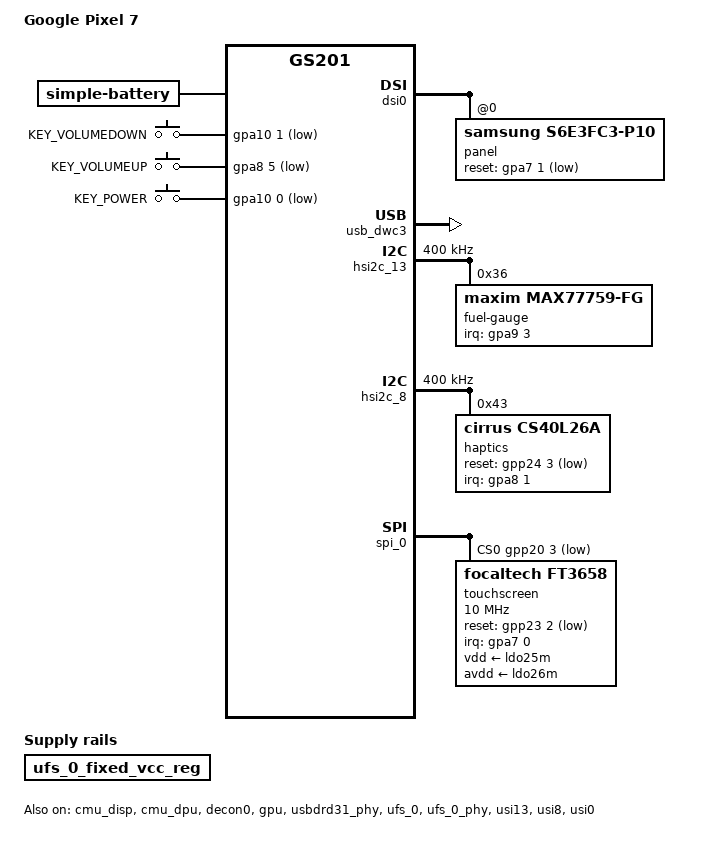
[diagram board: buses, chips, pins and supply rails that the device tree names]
// SPDX-License-Identifier: GPL-2.0-only
/*
 * Google Pixel 7 (panther) - first-light board file.
 *
 * USB (NCM + ACM), the cluster watchdogs from gs201.dtsi, a
 * simple-framebuffer on the buffer ABL leaves DPP0 scanning out, UFS, the
 * three keys, the touchscreen with its rails on the main PMIC, the GPU, the
 * haptics, the MAX77759's I2C bus with its fuel gauge, and the display
 * through gs-decon, which takes over from the simple-framebuffer.
 */

/dts-v1/;

#include <dt-bindings/input/input.h>
#include <dt-bindings/soc/samsung,exynos-usi.h>
#include "gs201.dtsi"

/ {
	model = "Google Pixel 7";
	compatible = "google,gs201-panther", "google,gs201";

	/*
	 * ABL's base-DTB match: product id 0x09855000 | major revision (B0 is
	 * 1). Stock reports pkg_mode 0 and soc_id 0x09855001 in its live tree.
	 */
	soc_id = <0x09855001 0x0>;

	chosen {
		/* ABL requires bootargs to exist; it appends its own after these. */
		bootargs = "console=tty0 panic=10 clk_ignore_unused pd_ignore_unused rdinit=/init omamobile.ufs-probe mem_sleep_default=s2idle";
		#address-cells = <2>;
		#size-cells = <1>;
		ranges;

		/*
		 * ABL leaves DECON0 -> DSIM0 -> panel (sdc-s6e3fc3) running in
		 * command mode with DPP0 scanning 0xfac00000 (RDMA_BASEADDR_Y8,
		 * read on this phone). simplefb scans it out and takes the size
		 * from this node until gs-decon takes the screen over.
		 */
		framebuffer0: framebuffer@fac00000 {
			compatible = "simple-framebuffer";
			reg = <0x0 0xfac00000 (1080 * 2400 * 4)>;
			memory-region = <&cont_splash_mem>;
			width = <1080>;
			height = <2400>;
			stride = <(1080 * 4)>;
			format = "a8r8g8b8";
		};
	};

	battery: battery {
		compatible = "simple-battery";
		/* google,chg-battery-capacity in the live tree */
		charge-full-design-microamp-hours = <4277000>;
		/* google,fv-max-uv; VEmpty of the live tree's gauge models */
		voltage-max-design-microvolt = <4450000>;
		voltage-min-design-microvolt = <3300000>;
	};

	/* The same pins as cheetah's (Google's gs201-common.dtsi). */
	gpio-keys {
		compatible = "gpio-keys";
		pinctrl-0 = <&key_voldown>, <&key_volup>, <&key_power>;
		pinctrl-names = "default";

		button-vol-down {
			label = "KEY_VOLUMEDOWN";
			linux,code = <KEY_VOLUMEDOWN>;
			gpios = <&gpa10 1 GPIO_ACTIVE_LOW>;
			wakeup-source;
		};

		button-vol-up {
			label = "KEY_VOLUMEUP";
			linux,code = <KEY_VOLUMEUP>;
			gpios = <&gpa8 5 GPIO_ACTIVE_LOW>;
			wakeup-source;
		};

		/*
		 * PMIC_PWRON_OD_L: the S2MPG12 PWRONB line, also wired to the
		 * SoC. The PMIC's own long-press reset is unaffected.
		 */
		button-power {
			label = "KEY_POWER";
			linux,code = <KEY_POWER>;
			gpios = <&gpa10 0 GPIO_ACTIVE_LOW>;
			wakeup-source;
		};
	};

	/*
	 * UFS VCC. Stock drives it from GPIO gpp0-1 (boot-on), as on
	 * cheetah; there is no gs201 GPIO driver yet, so describe it as
	 * always on, as the bootloader leaves it.
	 */
	ufs_0_fixed_vcc_reg: regulator-ufs-vcc {
		compatible = "regulator-fixed";
		regulator-name = "ufs-vcc";
		regulator-always-on;
		regulator-boot-on;
	};

	reserved-memory {
		#address-cells = <2>;
		#size-cells = <1>;
		ranges;

		/*
		 * Stock's region and layout (ramoops_mem@fd3ff000 in its live
		 * tree), so a log from this kernel can be read after a warm
		 * reboot into slot A.
		 */
		ramoops@fd3ff000 {
			compatible = "ramoops";
			reg = <0x0 0xfd3ff000 0x400000>;
			console-size = <0x200000>;
			pmsg-size = <0x200000>;
		};

		cont_splash_mem: splash@fac00000 {
			reg = <0x0 0xfac00000 (1080 * 2400 * 4)>;
			no-map;
		};

		/*
		 * Scanout buffers for gs-decon: DPP0 takes 32-bit addresses and
		 * the DPU SysMMU is bypassed. Room for five 1080x2400 XRGB8888
		 * buffers. Reusable, so the pages serve movable allocations
		 * while unused.
		 */
		display_pool: display-pool {
			compatible = "shared-dma-pool";
			reusable;
			size = <0x3800000>;
			/* read with the root's #address-cells (2), not #size-cells */
			alignment = <0x0 0x200000>;
			alloc-ranges = <0x0 0x80000000 0x80000000>;
		};
	};
};

&acpm_ipc {
	/*
	 * Main PMIC, touch rails only. LDO25M is the touch controller's VDD
	 * and LDO26M its AVDD; nothing else on the stock board consumes
	 * them. Stock constrains them to 1.6-1.95 V and 2.5-3.0 V. The sub-PMIC
	 * is not described.
	 */
	pmic-1 {
		compatible = "samsung,s2mpg12-pmic";
		interrupts = <GIC_SPI 72 IRQ_TYPE_LEVEL_HIGH>;
		google,vgpio2ap-sysreg = <&sysreg_vgpio2ap>;
		wakeup-source;

		regulators {
			/* Stock's 1.8 V, which ABL leaves programmed */
			ldo25m: ldo25m {
				regulator-name = "vdd-ts";
				regulator-min-microvolt = <1800000>;
				regulator-max-microvolt = <1800000>;
			};

			/*
			 * ABL leaves 3.3 V programmed, above stock's range;
			 * stock's regulator core lowers it to 3.0 V before
			 * the touch driver switches it on.
			 */
			ldo26m: ldo26m {
				regulator-name = "avdd-ts";
				regulator-min-microvolt = <3000000>;
				regulator-max-microvolt = <3000000>;
			};
		};
	};
};

/*
 * Display bring-up (device/panther/DISPLAY-PLAN.md): the DPU and DISP clock
 * controllers, and DSIM0 with the panel (gate D1), so the panel driver can
 * take the bootloader's panel over and send it DCS commands.
 */
&cmu_disp {
	status = "okay";
};

&cmu_dpu {
	status = "okay";
};

/*
 * Flip-only KMS on the bootloader's pipeline (gate D3): gs-decon takes the
 * screen over from simpledrm once it and the DSIM and panel drivers have
 * probed.
 */
&decon0 {
	memory-region = <&display_pool>, <&cont_splash_mem>;
	memory-region-names = "pool", "boot-framebuffer";
	status = "okay";
};

&dsi0 {
	status = "okay";

	panel@0 {
		compatible = "samsung,s6e3fc3-p10";
		reg = <0>;
		/* high = running; the bootloader leaves it high */
		reset-gpios = <&gpa7 1 GPIO_ACTIVE_LOW>;
		/* vci (S2MPG12 LDO27M) and vddi (S2MPG13 BUCKA): no driver yet */
		width-mm = <66>;
		height-mm = <146>;
	};
};

&gpu {
	/* No mali-supply: the G3D rails follow the PMU power domain and ACPM. */
	status = "okay";
};

&usbdrd31_phy {
	status = "okay";
};

&usb_dwc3 {
	status = "okay";
};

&ufs_0 {
	vcc-supply = <&ufs_0_fixed_vcc_reg>;
	status = "okay";
};

&ufs_0_phy {
	status = "okay";
};

/*
 * MAX77759 (charger, Type-C port controller, fuel gauge) on USI13, as on
 * the Pixel 7 Pro: TCPC 0x25, PMIC 0x66, fuel gauge 0x36, charger 0x69,
 * bus pins gpp25-0/1. Only the fuel gauge is described: the Type-C port
 * controller would take over VBUS and the data role from the forced-VBUS
 * setup the USB PHY uses, and the USB link is our only way into the phone.
 */
&usi13 {
	samsung,mode = <USI_MODE_I2C>;
	status = "okay";
};

&hsi2c_13 {
	clock-frequency = <400000>;
	status = "okay";

	fuel-gauge@36 {
		compatible = "maxim,max77759-fg";
		reg = <0x36>;
		interrupts-extended = <&gpa9 3 IRQ_TYPE_LEVEL_LOW>;
		pinctrl-0 = <&if_pmic_fg_int>;
		pinctrl-names = "default";
		/* maxim,rsense-default = <500> (10 uOhm units) in the live tree */
		shunt-resistor-micro-ohms = <5000>;
		monitored-battery = <&battery>;

		/*
		 * Battery model for the pack with a 1 kOhm ID resistor, the one
		 * this phone has (the gauge's TempCo read 0x1a02 under stock's
		 * driver, which is this model's). From Google's
		 * gs201-panther-battery-data.dtsi (cos-a1-1k, model version 2),
		 * except RelaxCfg 0x143b, the value stock writes over the
		 * model's at boot (r_regval_1720x). TaskPeriod 0x2d00 makes one
		 * capacity LSB 2 mAh with 5 mOhm: DesignCap 0x0873 = 4326 mAh.
		 */
		maxim,fg-model = /bits/ 16 <
			0x8c80 0xb770 0xb8f0 0xba50 0xbb40 0xbc30 0xbe00 0xbfd0
			0xc1b0 0xc3a0 0xc6b0 0xc9c0 0xd020 0xd300 0xd5e0 0xdc30
			0x0080 0x1070 0x1020 0x0ed0 0x0f00 0x1700 0x1530 0x0c20
			0x0c40 0x07f0 0x07f0 0x06f0 0x0710 0x06d0 0x06f0 0x06f0
			0x0200 0x0200 0x0200 0x0200 0x0200 0x0200 0x0200 0x0200
			0x0200 0x0200 0x0200 0x0200 0x0200 0x0200 0x0200 0x0200
		>;
		maxim,fg-params = /bits/ 16 <
			0xf060	/* IAvgEmpty */
			0x143b	/* RelaxCfg */
			0x260e	/* LearnCfg */
			0x4217	/* Config: external thermistor, TEx clear */
			0x0090	/* Config2 */
			0x5f00	/* FullSOCThr */
			0x0873	/* FullCapRep */
			0x0873	/* DesignCap */
			0x3200	/* dPAcc */
			0x021c	/* dQAcc */
			0x0873	/* FullCapNom */
			0xa561	/* VEmpty */
			0x1f00	/* QRTable00 */
			0x0d80	/* QRTable10 */
			0x0480	/* QRTable20 */
			0x0400	/* QRTable30 */
			0x0740	/* RComp0 */
			0x1a02	/* TempCo */
			0x0557	/* IChgTerm */
			0xed51	/* TGain */
			0x1eba	/* TOff */
			0x0014	/* Curve */
			0x3870	/* MiscCfg */
			0x1900	/* AtRate */
			0x2241	/* ConvgCfg */
			0xc613	/* FilterCfg */
			0x2d00	/* TaskPeriod */
		>;
	};
};

/*
 * Haptics: Cirrus Logic CS40L26A at 0x43 on PERIC0 USI8 (Google's I2C bus
 * 8), INTb on gpa8-1, RESET on gpp24-3, as on the Pixel 7 Pro. Boost and
 * actuator values are the stock ones, the same as the Pixel 7 Pro's
 * (bst-ipk 2.5 A, bst-ctl 11 V, f0 145 Hz, ReDC 13 ohm in the live tree).
 * The bus pins are on PERIC0 (gpp16-0/1).
 */
&pinctrl_far_alive {
	hapt_amp_irq: hapt-amp-irq-pins {
		samsung,pins = "gpa8-1";
		samsung,pin-function = <GS101_PIN_FUNC_EINT>;
		samsung,pin-pud = <GS101_PIN_PULL_NONE>;
		samsung,pin-drv = <GS101_PIN_DRV_2_5_MA>;
	};
};

&pinctrl_gpio_alive {
	if_pmic_fg_int: if-pmic-fg-int-pins {
		samsung,pins = "gpa9-3";
		samsung,pin-function = <GS101_PIN_FUNC_EINT>;
		samsung,pin-pud = <GS101_PIN_PULL_UP>;
		samsung,pin-drv = <GS101_PIN_DRV_2_5_MA>;
	};
};

&pinctrl_peric0 {
	status = "okay";
};

&pinctrl_peric1 {
	hapt_amp_rst: hapt-amp-rst-pins {
		samsung,pins = "gpp24-3";
		samsung,pin-function = <GS101_PIN_FUNC_OUTPUT>;
		samsung,pin-pud = <GS101_PIN_PULL_NONE>;
		samsung,pin-drv = <GS101_PIN_DRV_2_5_MA>;
	};
};

&usi8 {
	samsung,mode = <USI_MODE_I2C>;
	status = "okay";
};

&hsi2c_8 {
	clock-frequency = <400000>;
	status = "okay";

	haptics: haptic-driver@43 {
		compatible = "cirrus,cs40l26a";
		reg = <0x43>;
		interrupts-extended = <&gpa8 1 IRQ_TYPE_LEVEL_LOW>;
		reset-gpios = <&gpp24 3 GPIO_ACTIVE_LOW>;
		pinctrl-0 = <&hapt_amp_irq &hapt_amp_rst>;
		pinctrl-names = "default";
		cirrus,boost-peak-microamp = <2500000>;
		cirrus,boost-ctl-microvolt = <11000000>;
		cirrus,lra-f0-hz = <145>;
		cirrus,lra-redc-micro-ohms = <13000000>;
	};
};

/*
 * Touchscreen: a FocalTech FT3658 on USI0 SPI, wired as the Pixel 7 Pro's
 * S3908 (chip select gpp20-3, interrupt gpa7-0, reset gpp23-2).
 */
&ts_irq {
	/* Stock pulls the interrupt line up on this phone, not on the 7 Pro */
	samsung,pin-pud = <GS101_PIN_PULL_UP>;
};

&usi0 {
	samsung,mode = <USI_MODE_SPI>;
	status = "okay";
};

&spi_0 {
	pinctrl-0 = <&spi0_bus &spi0_miso &spi0_cs_gpio>;
	cs-gpios = <&gpp20 3 GPIO_ACTIVE_LOW>;
	num-cs = <1>;
	status = "okay";

	touchscreen@0 {
		compatible = "focaltech,ft3658";
		reg = <0>;
		spi-max-frequency = <10000000>;
		/* Stock's cs-clock-delay = <1>: 1 us from chip select to the clock */
		spi-cs-setup-delay-ns = <1000>;
		interrupt-parent = <&gpa7>;
		interrupts = <0 IRQ_TYPE_EDGE_FALLING>;
		reset-gpios = <&gpp23 2 GPIO_ACTIVE_LOW>;
		vdd-supply = <&ldo25m>;
		avdd-supply = <&ldo26m>;
		pinctrl-0 = <&ts_irq &ts_reset>;
		pinctrl-names = "default";
		touchscreen-size-x = <1080>;
		touchscreen-size-y = <2400>;
	};
};
